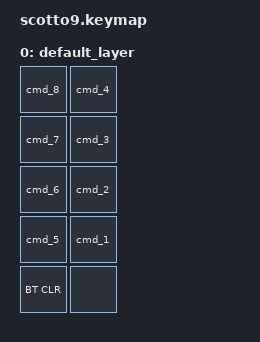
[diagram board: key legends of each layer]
/*
 * Copyright (c) 2020 The ZMK Contributors
 *
 * SPDX-License-Identifier: MIT
 */

#include <behaviors.dtsi>
#include <dt-bindings/zmk/keys.h>
#include <dt-bindings/zmk/bt.h>

/ {
    behaviors {
        cmd_1: cmd_1_macro {
            compatible = "zmk,behavior-macro";
            label = "CMD_1";
            #binding-cells = <0>;
            bindings = <&kp LC(LS(N1))>;
        };

        cmd_2: cmd_2_macro {
            compatible = "zmk,behavior-macro";
            label = "CMD_2";
            #binding-cells = <0>;
            bindings = <&kp LC(LS(N2))>;
        };

        cmd_3: cmd_3_macro {
            compatible = "zmk,behavior-macro";
            label = "CMD_3";
            #binding-cells = <0>;
            bindings = <&kp LC(LS(N3))>;
        };

        cmd_4: cmd_4_macro {
            compatible = "zmk,behavior-macro";
            label = "CMD_4";
            #binding-cells = <0>;
            bindings = <&kp LC(LS(N4))>;
        };

        cmd_5: cmd_5_macro {
            compatible = "zmk,behavior-macro";
            label = "CMD_5";
            #binding-cells = <0>;
            bindings = <&kp LC(LS(N5))>;
        };

        cmd_6: cmd_6_macro {
            compatible = "zmk,behavior-macro";
            label = "CMD_6";
            #binding-cells = <0>;
            bindings = <&kp LC(LS(N6))>;
        };

        cmd_7: cmd_7_macro {
            compatible = "zmk,behavior-macro";
            label = "CMD_7";
            #binding-cells = <0>;
            bindings = <&kp LC(LS(N7))>;
        };

        cmd_8: cmd_8_macro {
            compatible = "zmk,behavior-macro";
            label = "CMD_8";
            #binding-cells = <0>;
            bindings = <&kp LC(LS(N8))>;
        };

        cmd_9: cmd_9_macro {
            compatible = "zmk,behavior-macro";
            label = "CMD_9";
            #binding-cells = <0>;
            bindings = <&kp LC(LS(N9))>;
        };
    };

    keymap {
        compatible = "zmk,keymap";

        default_layer {
            bindings = <
                // Matrix rows 0–3, columns 0–1
                // Physical layout rotated 180° so that:
                // Top row keys send 1 2 3 4, bottom row 5 6 7 8.
                &cmd_8  &cmd_4
                &cmd_7  &cmd_3
                &cmd_6  &cmd_2
                &cmd_5  &cmd_1
                // Extra row (R4): BT reset button on 017×020, unused on 017×022
                &bt BT_CLR  &none
            >;
        };
    };

    combos {
        compatible = "zmk,combos";

        bt_clear_combo {
            timeout-ms = <50>;
            key-positions = <0 1 7>;
            layers = <0>;
            bindings = <&bt BT_CLR>;
        };
    };
};
